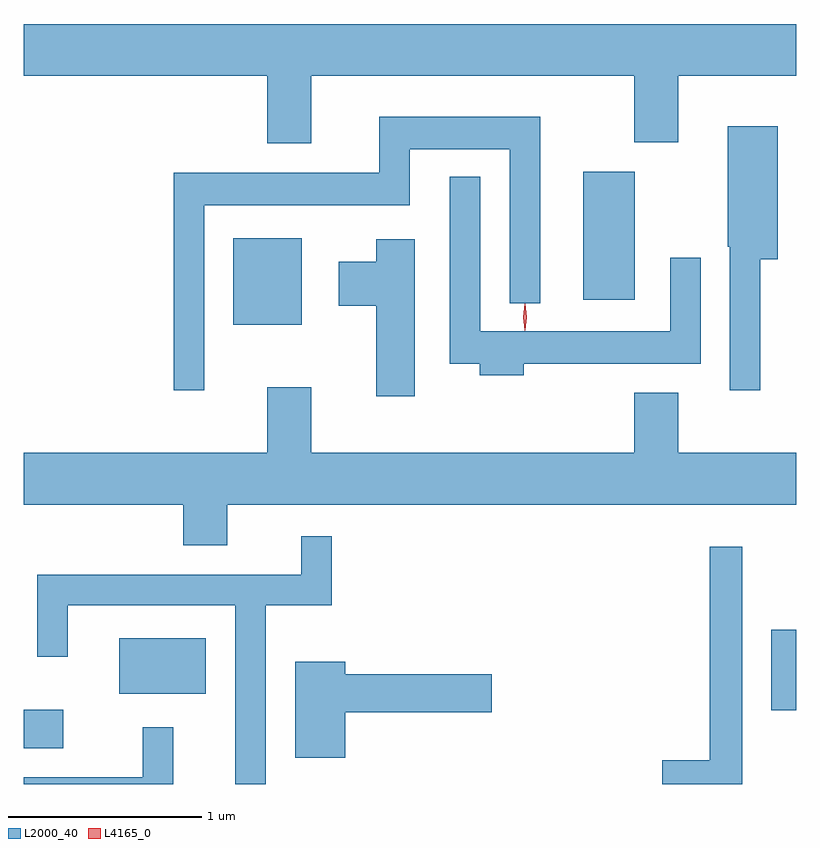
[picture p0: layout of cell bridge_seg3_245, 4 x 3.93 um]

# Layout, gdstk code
import gdstk
lib = gdstk.Library(unit=1e-6, precision=1e-09)
def R(c, l, rs):  # rectangles x0, y0, x1, y1
    for r in rs: c.add(gdstk.rectangle(r[:2], r[2:], *l))
def P(c, l, *ps):  # polygons
    for p in ps: c.add(gdstk.Polygon(p, *l))
L2000_40 = (2000, 40)
L4165_0 = (4165, 0)

bridge_seg3_245 = lib.new_cell('bridge_seg3_245')
R(bridge_seg3_245, L2000_40, [(985.29,1133.636,985.494,1133.834), (989.161,1133.831,989.29,1134.249), (985.786,1133.916,986.234,1134.204), (986.376,1135.826,986.729,1136.274), (988.186,1135.956,988.454,1136.619)])
P(bridge_seg3_245, L2000_40, [(986.779,1137.116),(988.451,1137.116),(988.451,1136.771),(988.679,1136.771),(988.679,1137.116),(989.29,1137.116),(989.29,1137.384),(985.29,1137.384),(985.29,1137.116),(986.551,1137.116),(986.551,1136.766),(986.779,1136.766)],
  [(986.224,1136.446),(987.289,1136.446),(987.289,1136.736),(987.806,1136.736),(987.806,1135.938),(987.964,1135.938),(987.964,1136.904),(987.131,1136.904),(987.131,1136.614),(986.066,1136.614),(986.066,1135.488),(986.224,1135.488)],
  [(989.104,1136.166),(989.194,1136.166),(989.194,1136.854),(988.936,1136.854),(988.936,1136.23),(988.946,1136.23),(988.946,1135.488),(989.104,1135.488)],
  [(987.879,1135.626),(988.794,1135.626),(988.794,1136.173),(988.636,1136.173),(988.636,1135.794),(987.654,1135.794),(987.654,1136.593),(987.496,1136.593),(987.496,1135.626),(987.651,1135.626),(987.651,1135.566),(987.879,1135.566)],
  [(987.314,1136.269),(987.116,1136.269),(987.116,1136.154),(986.921,1136.154),(986.921,1135.926),(987.116,1135.926),(987.116,1135.456),(987.314,1135.456)],
  [(986.344,1134.896),(989.29,1134.896),(989.29,1135.164),(988.679,1135.164),(988.679,1135.474),(988.451,1135.474),(988.451,1135.164),(986.779,1135.164),(986.779,1135.504),(986.551,1135.504),(986.551,1135.164),(985.29,1135.164),(985.29,1134.896),(986.116,1134.896),(986.116,1134.686),(986.344,1134.686)],
  [(986.544,1134.376),(986.884,1134.376),(986.884,1134.733),(986.726,1134.733),(986.726,1134.534),(985.361,1134.534),(985.361,1134.108),(985.519,1134.108),(985.519,1134.376),(986.386,1134.376),(986.386,1133.45),(986.544,1133.45)],
  [(989.009,1134.678),(988.841,1134.678),(988.841,1133.574),(988.596,1133.574),(988.596,1133.45),(989.009,1133.45)],
  [(986.954,1133.821),(987.714,1133.821),(987.714,1134.019),(986.954,1134.019),(986.954,1134.084),(986.696,1134.084),(986.696,1133.586),(986.954,1133.586)],
  [(986.064,1133.743),(985.906,1133.743),(985.906,1133.484),(985.29,1133.484),(985.29,1133.45),(986.064,1133.45)])
P(bridge_seg3_245, L4165_0, [(987.885,1135.797),(987.885,1135.798),(987.875,1135.867),(987.885,1135.936),(987.885,1135.936),(987.886,1135.936),(987.895,1135.867),(987.886,1135.798)],
  [(987.885,1135.799),(987.885,1135.8),(987.875,1135.866),(987.885,1135.932),(987.885,1135.933),(987.886,1135.932),(987.895,1135.866),(987.886,1135.8)])

lib.write_gds('bridge_seg3_245.gds')
